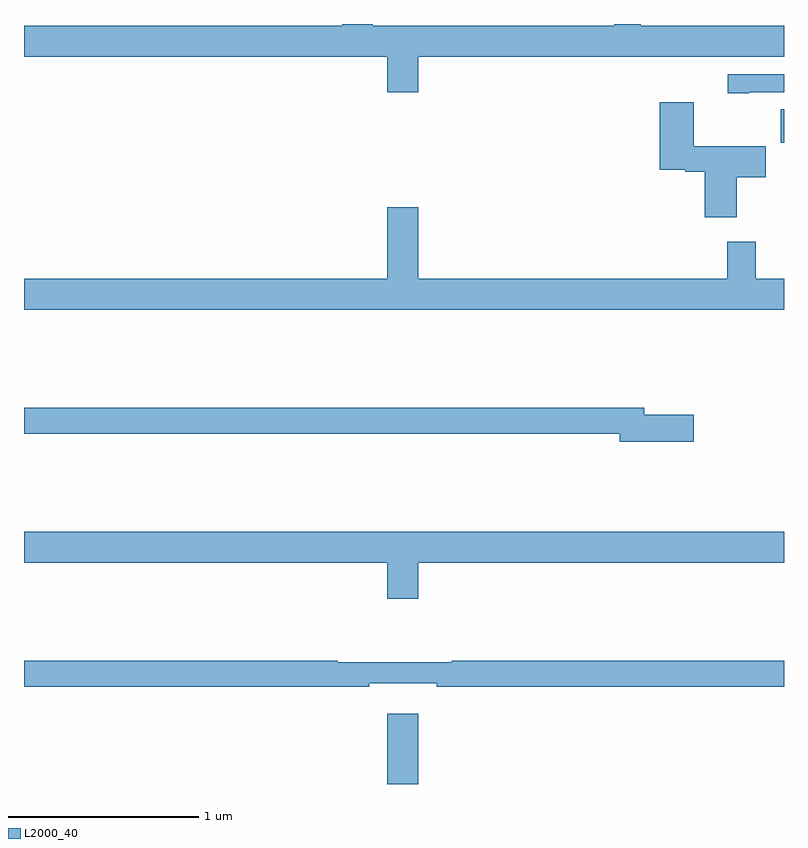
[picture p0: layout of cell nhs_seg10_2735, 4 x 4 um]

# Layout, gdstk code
import gdstk
lib = gdstk.Library(unit=1e-6, precision=1e-09)
def R(c, l, rs):  # rectangles x0, y0, x1, y1
    for r in rs: c.add(gdstk.rectangle(r[:2], r[2:], *l))
def P(c, l, *ps):  # polygons
    for p in ps: c.add(gdstk.Polygon(p, *l))
L2000_40 = (2000, 40)

nhs_seg10_2735 = lib.new_cell('nhs_seg10_2735')
R(nhs_seg10_2735, L2000_40, [(260.912,1284.5,261.076,1284.871), (262.982,1287.875,263,1288.051)])
P(nhs_seg10_2735, L2000_40, [(260.912,1288.14),(261.076,1288.14),(261.076,1288.328),(263,1288.328),(263,1288.492),(262.245,1288.492),(262.245,1288.5),(262.107,1288.5),(262.107,1288.492),(260.835,1288.492),(260.835,1288.5),(260.675,1288.5),(260.675,1288.492),(259,1288.492),(259,1288.328),(260.912,1288.328)],
  [(262.816,1288.14),(263,1288.14),(263,1288.236),(262.704,1288.236),(262.704,1288.135),(262.816,1288.135)],
  [(262.75,1287.694),(262.903,1287.694),(262.903,1287.856),(262.524,1287.856),(262.524,1288.087),(262.346,1288.087),(262.346,1287.734),(262.481,1287.734),(262.481,1287.722),(262.583,1287.722),(262.583,1287.483),(262.75,1287.483)],
  [(263,1287.16),(262.852,1287.16),(262.852,1287.355),(262.7,1287.355),(262.7,1287.16),(261.076,1287.16),(261.076,1287.535),(260.912,1287.535),(260.912,1287.16),(259,1287.16),(259,1286.996),(263,1286.996)],
  [(262.525,1286.444),(262.264,1286.444),(262.264,1286.48),(259,1286.48),(259,1286.344),(262.136,1286.344),(262.136,1286.302),(262.525,1286.302)],
  [(261.076,1285.664),(263,1285.664),(263,1285.828),(259,1285.828),(259,1285.664),(260.912,1285.664),(260.912,1285.476),(261.076,1285.476)],
  [(260.816,1285.031),(261.172,1285.031),(261.172,1285.012),(263,1285.012),(263,1285.148),(261.25,1285.148),(261.25,1285.141),(260.65,1285.141),(260.65,1285.148),(259,1285.148),(259,1285.012),(260.816,1285.012)])

lib.write_gds('nhs_seg10_2735.gds')
